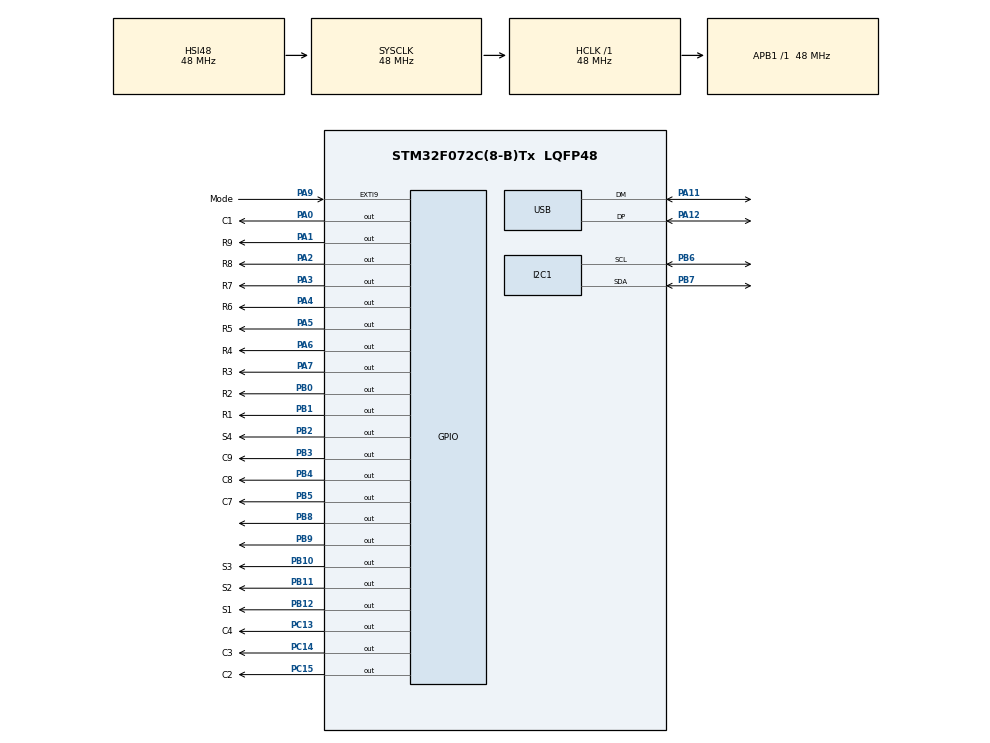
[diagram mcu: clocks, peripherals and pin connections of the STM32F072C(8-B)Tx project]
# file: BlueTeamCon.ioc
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Mcu.Family=STM32F0
USB_DEVICE.CLASS_NAME_FS=CDC
NVIC.USB_IRQn=true\:0\:0\:false\:false\:true\:false\:true
PA0.GPIO_Label=C1
PA11.Mode=Device
PA6.GPIO_Label=R4
PB0.GPIO_Label=R2
PC13.GPIO_Label=C4
PB11.Signal=GPIO_Output
PC15-OSC32_OUT.GPIO_Label=C2
RCC.SYSCLKSource=RCC_SYSCLKSOURCE_HSI48
ProjectManager.StackSize=0x400
PA12.Signal=USB_DP
RCC.HCLKFreq_Value=48000000
PB6.Signal=I2C1_SCL
PB6.Mode=I2C
RCC.AHBFreq_Value=48000000
PB2.Signal=GPIO_Output
PB12.GPIO_Label=S1
PB1.GPIO_Label=R1
PB7.Signal=I2C1_SDA
PA0.Signal=GPIO_Output
Mcu.Package=LQFP48
PB9.Signal=GPIO_Output
PB1.Signal=GPIO_Output
PA6.Signal=GPIO_Output
PA2.GPIO_Label=R8
PB5.GPIO_Label=C7
RCC.APB1TimFreq_Value=48000000
PC14-OSC32_IN.GPIO_Label=C3
PA4.GPIO_Label=R6
NVIC.EXTI4_15_IRQn=true\:0\:0\:false\:false\:true\:true\:true
PB4.Signal=GPIO_Output
PA3.Signal=GPIO_Output
PB3.GPIO_Label=C9
USB_DEVICE.VirtualModeFS=Cdc_FS
PC13.Signal=GPIO_Output
PA9.GPIO_Label=Mode
PB11.GPIO_Label=S2
PC14-OSC32_IN.Signal=GPIO_Output
PA9.GPIO_PuPd=GPIO_PULLUP
ProjectManager.TargetToolchain=Makefile
PB10.GPIO_Label=S3
VP_USB_DEVICE_VS_USB_DEVICE_CDC_FS.Mode=CDC_FS
PA9.Signal=GPXTI9
PC15-OSC32_OUT.Signal=GPIO_Output
PA1.Signal=GPIO_Output
PB10.Signal=GPIO_Output
PA5.Signal=GPIO_Output
board=custom
PB4.GPIO_Label=C8
PA1.GPIO_Label=R9
Mcu.Name=STM32F072C(8-B)Tx
PA2.Signal=GPIO_Output
PB3.Signal=GPIO_Output
PA4.Signal=GPIO_Output
RCC.SYSCLKFreq_VALUE=48000000
PB5.Signal=GPIO_Output
PA7.GPIO_Label=R3
PA12.Mode=Device
PA5.GPIO_Label=R5
PB7.Mode=I2C
PA11.Signal=USB_DM
PB2.GPIO_Label=S4
ProjectManager.HeapSize=0x200
PA9.GPIO_ModeDefaultEXTI=GPIO_MODE_IT_FALLING
PB8.Signal=GPIO_Output
RCC.APB1Freq_Value=48000000
PB0.Signal=GPIO_Output
USB_DEVICE.VirtualMode=Cdc
PB12.Signal=GPIO_Output
PA3.GPIO_Label=R7
PA7.Signal=GPIO_Output

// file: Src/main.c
/* USER CODE BEGIN Header */
/**
  ******************************************************************************
  * @file           : main.c
  * @brief          : Main program body
  ******************************************************************************
  * @attention
  *
  * <h2><center>&copy; Copyright (c) 2020 STMicroelectronics.
  * All rights reserved.</center></h2>
  *
  * This software component is licensed by ST under Ultimate Liberty license
  * SLA0044, the "License"; You may not use this file except in compliance with
  * the License. You may obtain a copy of the License at:
  *                             www.st.com/SLA0044
  *
  ******************************************************************************
  */
/* USER CODE END Header */
#include "main.h"
#include "usb_device.h"

/* USER CODE BEGIN Includes */
#include "lis3dh_reg.h"

/* USER CODE END Includes */

/* USER CODE BEGIN PD */
static int16_t data_raw_acceleration[3];
static int16_t data_raw_temperature;
static float acceleration_mg[3];
static float temperature_degC;
static uint8_t whoamI;
static uint8_t tx_buffer[1000];

#define SENSOR_BUS hi2c1

static int32_t platform_write(void *handle, uint8_t reg, const uint8_t *bufp,
                              uint16_t len);
static int32_t platform_read(void *handle, uint8_t reg, uint8_t *bufp,
                             uint16_t len);
static void tx_com(uint8_t *tx_buffer, uint16_t len);

static void lis3dh_read_data_polling(void);
/* USER CODE END PD */

I2C_HandleTypeDef hi2c1;

/* USER CODE BEGIN PV */
int location = 0;
int change = 0;
/* USER CODE END PV */

void SystemClock_Config(void);
static void MX_GPIO_Init(void);
static void MX_I2C1_Init(void);
/* USER CODE BEGIN PFP */
void singleMatrix(int, int);

/* USER CODE END PFP */

int main(void)
{

  /* MCU Configuration--------------------------------------------------------*/

  /* Reset of all peripherals, Initializes the Flash interface and the Systick. */
  HAL_Init();

  /* USER CODE BEGIN Init */
//   uint8_t *data = "Hello World from USB CDC\n";

  /* USER CODE END Init */

  /* Configure the system clock */
  SystemClock_Config();

  /* Initialize all configured peripherals */
  MX_GPIO_Init();
  MX_I2C1_Init();
  MX_USB_DEVICE_Init();
  /* USER CODE BEGIN 2 */
uint8_t Space[] = " - ";
uint8_t StartMSG[] = "Starting I2C Scanning: \r\n";
uint8_t EndMSG[] = "Done! \r\n\r\n";
uint8_t Buffer[25] = {0};

  /* USER CODE END 2 */

  /* Infinite loop */
  /* USER CODE BEGIN WHILE */
  while (1)
  {
      //starsON();
      //cycleMatrix();
      if(location == 0)
         //cylon();
         lines();
      else if(location == 1)
         cycleMatrix(500);
      else if(location == 2)
         cycleMatrix(100);
      else if(location == 3)
         allON();
      else if(location == 4)
         triangles();
      else if(location == 5)
         lines();

      if(change > 0){
         change = 0;
         location++;
         if(location >5)
            location = 0;
         allOFF();
      }
//     CDC_Transmit_FS(data, strlen(data));
/*
if(HAL_GPIO_ReadPin(GPIOA, GPIO_PIN_9) == 0)
{
   lis3dh_read_data_polling();
uint8_t ret;

  for(uint8_t i=1; i<128; i++)
    {
    	ret = HAL_I2C_IsDeviceReady(&hi2c1, (uint16_t)(i<<1), 3, 5);
    	if (ret != HAL_OK)
    	{
    	    CDC_Transmit_FS(Space, sizeof(Space));
        }
    	else if(ret == HAL_OK)
    	{
    	    sprintf(Buffer, "0x%X", i);
    	    CDC_Transmit_FS(Buffer, sizeof(Buffer));
    	}
    }
    CDC_Transmit_FS(EndMSG, sizeof(EndMSG));
}
*/

    /* USER CODE END WHILE */

  }
}

void SystemClock_Config(void)
{
  RCC_OscInitTypeDef RCC_OscInitStruct = {0};
  RCC_ClkInitTypeDef RCC_ClkInitStruct = {0};
  RCC_PeriphCLKInitTypeDef PeriphClkInit = {0};

  /** Initializes the RCC Oscillators according to the specified parameters
  * in the RCC_OscInitTypeDef structure.
  */
  RCC_OscInitStruct.OscillatorType = RCC_OSCILLATORTYPE_HSI|RCC_OSCILLATORTYPE_HSI48;
  RCC_OscInitStruct.HSIState = RCC_HSI_ON;
  RCC_OscInitStruct.HSI48State = RCC_HSI48_ON;
  RCC_OscInitStruct.HSICalibrationValue = RCC_HSICALIBRATION_DEFAULT;
  RCC_OscInitStruct.PLL.PLLState = RCC_PLL_NONE;
  if (HAL_RCC_OscConfig(&RCC_OscInitStruct) != HAL_OK)
  {
    Error_Handler();
  }
  /** Initializes the CPU, AHB and APB buses clocks
  */
  RCC_ClkInitStruct.ClockType = RCC_CLOCKTYPE_HCLK|RCC_CLOCKTYPE_SYSCLK
                              |RCC_CLOCKTYPE_PCLK1;
  RCC_ClkInitStruct.SYSCLKSource = RCC_SYSCLKSOURCE_HSI48;
  RCC_ClkInitStruct.AHBCLKDivider = RCC_SYSCLK_DIV1;
  RCC_ClkInitStruct.APB1CLKDivider = RCC_HCLK_DIV1;

  if (HAL_RCC_ClockConfig(&RCC_ClkInitStruct, FLASH_LATENCY_1) != HAL_OK)
  {
    Error_Handler();
  }
  PeriphClkInit.PeriphClockSelection = RCC_PERIPHCLK_USB|RCC_PERIPHCLK_I2C1;
  PeriphClkInit.I2c1ClockSelection = RCC_I2C1CLKSOURCE_HSI;
  PeriphClkInit.UsbClockSelection = RCC_USBCLKSOURCE_HSI48;

  if (HAL_RCCEx_PeriphCLKConfig(&PeriphClkInit) != HAL_OK)
  {
    Error_Handler();
  }
}

static void MX_I2C1_Init(void)
{

  hi2c1.Instance = I2C1;
  hi2c1.Init.Timing = 0x2000090E;
  hi2c1.Init.OwnAddress1 = 0;
  hi2c1.Init.AddressingMode = I2C_ADDRESSINGMODE_7BIT;
  hi2c1.Init.DualAddressMode = I2C_DUALADDRESS_DISABLE;
  hi2c1.Init.OwnAddress2 = 0;
  hi2c1.Init.OwnAddress2Masks = I2C_OA2_NOMASK;
  hi2c1.Init.GeneralCallMode = I2C_GENERALCALL_DISABLE;
  hi2c1.Init.NoStretchMode = I2C_NOSTRETCH_DISABLE;
  if (HAL_I2C_Init(&hi2c1) != HAL_OK)
  {
    Error_Handler();
  }
  /** Configure Analogue filter
  */
  if (HAL_I2CEx_ConfigAnalogFilter(&hi2c1, I2C_ANALOGFILTER_ENABLE) != HAL_OK)
  {
    Error_Handler();
  }
  /** Configure Digital filter
  */
  if (HAL_I2CEx_ConfigDigitalFilter(&hi2c1, 0) != HAL_OK)
  {
    Error_Handler();
  }

}

static void MX_GPIO_Init(void)
{
  GPIO_InitTypeDef GPIO_InitStruct = {0};

  /* GPIO Ports Clock Enable */
  __HAL_RCC_GPIOC_CLK_ENABLE();
  __HAL_RCC_GPIOA_CLK_ENABLE();
  __HAL_RCC_GPIOB_CLK_ENABLE();

  /*Configure GPIO pin Output Level */
  HAL_GPIO_WritePin(GPIOC, C4_Pin|C3_Pin|C2_Pin, GPIO_PIN_RESET);

  /*Configure GPIO pin Output Level */
  HAL_GPIO_WritePin(GPIOA, C1_Pin|R9_Pin|R8_Pin|R7_Pin
                          |R6_Pin|R5_Pin|R4_Pin|R3_Pin, GPIO_PIN_RESET);

  /*Configure GPIO pin Output Level */
  HAL_GPIO_WritePin(GPIOB, R2_Pin|R1_Pin|S4_Pin|S3_Pin
                          |S2_Pin|S1_Pin|C9_Pin|C8_Pin
                          |C7_Pin|GPIO_PIN_8|GPIO_PIN_9, GPIO_PIN_RESET);

  /*Configure GPIO pins : C4_Pin C3_Pin C2_Pin */
  GPIO_InitStruct.Pin = C4_Pin|C3_Pin|C2_Pin;
  GPIO_InitStruct.Mode = GPIO_MODE_OUTPUT_PP;
  GPIO_InitStruct.Pull = GPIO_NOPULL;
  GPIO_InitStruct.Speed = GPIO_SPEED_FREQ_LOW;
  HAL_GPIO_Init(GPIOC, &GPIO_InitStruct);

  /*Configure GPIO pins : C1_Pin R9_Pin R8_Pin R7_Pin
                           R6_Pin R5_Pin R4_Pin R3_Pin */
  GPIO_InitStruct.Pin = C1_Pin|R9_Pin|R8_Pin|R7_Pin
                          |R6_Pin|R5_Pin|R4_Pin|R3_Pin;
  GPIO_InitStruct.Mode = GPIO_MODE_OUTPUT_PP;
  GPIO_InitStruct.Pull = GPIO_NOPULL;
  GPIO_InitStruct.Speed = GPIO_SPEED_FREQ_LOW;
  HAL_GPIO_Init(GPIOA, &GPIO_InitStruct);

  /*Configure GPIO pins : R2_Pin R1_Pin S4_Pin S3_Pin
                           S2_Pin S1_Pin C9_Pin C8_Pin
                           C7_Pin PB8 PB9 */
  GPIO_InitStruct.Pin = R2_Pin|R1_Pin|S4_Pin|S3_Pin
                          |S2_Pin|S1_Pin|C9_Pin|C8_Pin
                          |C7_Pin|GPIO_PIN_8|GPIO_PIN_9;
  GPIO_InitStruct.Mode = GPIO_MODE_OUTPUT_PP;
  GPIO_InitStruct.Pull = GPIO_NOPULL;
  GPIO_InitStruct.Speed = GPIO_SPEED_FREQ_LOW;
  HAL_GPIO_Init(GPIOB, &GPIO_InitStruct);

  /*Configure GPIO pin : Mode_Pin */
  GPIO_InitStruct.Pin = Mode_Pin;
  GPIO_InitStruct.Mode = GPIO_MODE_IT_FALLING;
  GPIO_InitStruct.Pull = GPIO_PULLUP;
  HAL_GPIO_Init(Mode_GPIO_Port, &GPIO_InitStruct);

  /* EXTI interrupt init*/
  HAL_NVIC_SetPriority(EXTI4_15_IRQn, 0, 0);
  HAL_NVIC_EnableIRQ(EXTI4_15_IRQn);

}

/* USER CODE BEGIN 4 */

void HAL_GPIO_EXTI_Callback( uint16_t GPIO_Pin)
{
   //if(GPIO_Pin == Mode_Pin){
         //This block will be triggered after pin activated.
      //if(HAL_GPIO_ReadPin(GPIOA, GPIO_PIN_9 == 0)){
         change = 1;
        // tx_com(location, 16);
       //  }
   //}
}

static void tx_com(uint8_t *tx_buffer, uint16_t len){
//  HAL_UART_Transmit(&huart2, tx_buffer, len, 1000);
   CDC_Transmit_FS(tx_buffer, len);
}

void lis3dh_read_data_polling(void)
{
  /* Initialize mems driver interface */
  stmdev_ctx_t dev_ctx;
  dev_ctx.write_reg = platform_write;
  dev_ctx.read_reg = platform_read;
  dev_ctx.handle = &SENSOR_BUS;
  /* Wait boot time and initialize platform specific hardware */
  //platform_init();
  /* Wait sensor boot time */
//  platform_delay(5);
HAL_Delay(5);
  /* Check device ID */
  lis3dh_device_id_get(&dev_ctx, &whoamI);

  if (whoamI != LIS3DH_ID) {
    while (1) {
      /* manage here device not found */
      tx_com("Dev Not Found", 13);
    }
  }
  tx_com(whoamI, 20);

  /* Enable Block Data Update. */
  lis3dh_block_data_update_set(&dev_ctx, PROPERTY_ENABLE);
  /* Set Output Data Rate to 1Hz. */
  lis3dh_data_rate_set(&dev_ctx, LIS3DH_ODR_1Hz);
  /* Set full scale to 2g. */
  lis3dh_full_scale_set(&dev_ctx, LIS3DH_2g);
  /* Enable temperature sensor. */
  lis3dh_aux_adc_set(&dev_ctx, LIS3DH_AUX_ON_TEMPERATURE);
  /* Set device in continuous mode with 12 bit resol. */
  lis3dh_operating_mode_set(&dev_ctx, LIS3DH_HR_12bit);

  /* Read samples in polling mode (no int) */
  while (1) {
    lis3dh_reg_t reg;
    /* Read output only if new value available */
    lis3dh_xl_data_ready_get(&dev_ctx, &reg.byte);

//  tx_com(reg.byte, 20);
    if (reg.byte) {
      /* Read accelerometer data */
      memset(data_raw_acceleration, 0x00, 3 * sizeof(int16_t));
      lis3dh_acceleration_raw_get(&dev_ctx, data_raw_acceleration);
      acceleration_mg[0] =
        lis3dh_from_fs2_hr_to_mg(data_raw_acceleration[0]);
      acceleration_mg[1] =
        lis3dh_from_fs2_hr_to_mg(data_raw_acceleration[1]);
      acceleration_mg[2] =
        lis3dh_from_fs2_hr_to_mg(data_raw_acceleration[2]);
      sprintf((char *)tx_buffer,
              "Acceleration [mg]:%4.2f\t%4.2f\t%4.2f\r\n",
              acceleration_mg[0], acceleration_mg[1], acceleration_mg[2]);
      tx_com(tx_buffer, strlen((char const *)tx_buffer));
      tx_com((uint8_t )data_raw_acceleration[0], strlen((char const *)tx_buffer));
    }

    lis3dh_temp_data_ready_get(&dev_ctx, &reg.byte);

    if (reg.byte) {
      /* Read temperature data */
      memset(&data_raw_temperature, 0x00, sizeof(int16_t));
      lis3dh_temperature_raw_get(&dev_ctx, &data_raw_temperature);
      temperature_degC =
        lis3dh_from_lsb_hr_to_celsius(data_raw_temperature);
      sprintf((char *)tx_buffer,
              "Temperature [degC]:%6.2f\r\n",
              temperature_degC);
      tx_com(tx_buffer, strlen((char const *)tx_buffer));
    }
  }
}

static int32_t platform_write(void *handle, uint8_t reg, const uint8_t *bufp,
                              uint16_t len){
   reg |= 0x80;
   HAL_I2C_Mem_Write(handle, LIS3DH_I2C_ADD_L, reg,
                           I2C_MEMADD_SIZE_8BIT, (uint8_t*) bufp, len, 1000);
   return 0;
   }

static int32_t platform_read(void *handle, uint8_t reg, uint8_t *bufp, uint16_t len){
   /* Read multiple command */
   reg |= 0x80;
   HAL_I2C_Mem_Read(handle, LIS3DH_I2C_ADD_L, reg, I2C_MEMADD_SIZE_8BIT, bufp, len, 1000);
   return 0;
}

void starsON(){
   //Light our stars
   HAL_GPIO_WritePin(GPIOB, GPIO_PIN_12, GPIO_PIN_SET);
   HAL_GPIO_WritePin(GPIOB, GPIO_PIN_11, GPIO_PIN_SET);
   HAL_GPIO_WritePin(GPIOB, GPIO_PIN_10, GPIO_PIN_SET);
   HAL_GPIO_WritePin(GPIOB, GPIO_PIN_2, GPIO_PIN_SET);
}

void starsOFF(){
   //Light our stars
   HAL_GPIO_WritePin(GPIOB, GPIO_PIN_12, GPIO_PIN_RESET);
   HAL_GPIO_WritePin(GPIOB, GPIO_PIN_11, GPIO_PIN_RESET);
   HAL_GPIO_WritePin(GPIOB, GPIO_PIN_10, GPIO_PIN_RESET);
   HAL_GPIO_WritePin(GPIOB, GPIO_PIN_2, GPIO_PIN_RESET);
}

void allON(){
   starsON();
   cycleMatrix(1);
}

void allOFF(){
   //Blank our stars
   HAL_GPIO_WritePin(GPIOB, GPIO_PIN_12, GPIO_PIN_RESET);
   HAL_GPIO_WritePin(GPIOB, GPIO_PIN_11, GPIO_PIN_RESET);
   HAL_GPIO_WritePin(GPIOB, GPIO_PIN_10, GPIO_PIN_RESET);
   HAL_GPIO_WritePin(GPIOB, GPIO_PIN_2, GPIO_PIN_RESET);

   //Row 1
   HAL_GPIO_WritePin(GPIOB, GPIO_PIN_1, GPIO_PIN_RESET);
   //Row 2
   HAL_GPIO_WritePin(GPIOB, GPIO_PIN_0, GPIO_PIN_RESET);
   //Row 3
   HAL_GPIO_WritePin(GPIOA, GPIO_PIN_7, GPIO_PIN_RESET);
   //Row 4
   HAL_GPIO_WritePin(GPIOA, GPIO_PIN_6, GPIO_PIN_RESET);
   //Row 5
   HAL_GPIO_WritePin(GPIOA, GPIO_PIN_5, GPIO_PIN_RESET);
   //Row 6
   HAL_GPIO_WritePin(GPIOA, GPIO_PIN_4, GPIO_PIN_RESET);
   //Row 7
   HAL_GPIO_WritePin(GPIOA, GPIO_PIN_3, GPIO_PIN_RESET);
   //Row 8
   HAL_GPIO_WritePin(GPIOA, GPIO_PIN_2, GPIO_PIN_RESET);
   //Row 9
   HAL_GPIO_WritePin(GPIOA, GPIO_PIN_1, GPIO_PIN_RESET);

   //C1
   HAL_GPIO_WritePin(GPIOA, GPIO_PIN_0, GPIO_PIN_RESET);
   //C2
   HAL_GPIO_WritePin(GPIOC, GPIO_PIN_15, GPIO_PIN_RESET);
   //C3
   HAL_GPIO_WritePin(GPIOC, GPIO_PIN_14, GPIO_PIN_RESET);
   //C4
   HAL_GPIO_WritePin(GPIOC, GPIO_PIN_13, GPIO_PIN_RESET);
   //C5
   HAL_GPIO_WritePin(GPIOB, GPIO_PIN_9, GPIO_PIN_RESET);
   //C6
   HAL_GPIO_WritePin(GPIOB, GPIO_PIN_8, GPIO_PIN_RESET);
   //C7
   HAL_GPIO_WritePin(GPIOB, GPIO_PIN_5, GPIO_PIN_RESET);
   //C8
   HAL_GPIO_WritePin(GPIOB, GPIO_PIN_4, GPIO_PIN_RESET);
   //C9
   HAL_GPIO_WritePin(GPIOB, GPIO_PIN_3, GPIO_PIN_RESET);
}

void triangles(){
   int i = 1;
   int j = 1;
   while(change == 0){
      if(i == 1){
         singleMatrix(1,1);
         singleMatrix(2,1);
         singleMatrix(3,1);
         singleMatrix(4,1);
         singleMatrix(5,1);
         singleMatrix(6,1);
         singleMatrix(7,1);
         singleMatrix(8,1);
         singleMatrix(9,1);

         singleMatrix(1,1);
         singleMatrix(1,2);
         singleMatrix(1,3);
         singleMatrix(1,4);
         singleMatrix(1,5);
         singleMatrix(1,6);
         singleMatrix(1,7);
         singleMatrix(1,8);
         singleMatrix(1,9);

         singleMatrix(8,2);
         singleMatrix(7,3);
         singleMatrix(6,4);
         singleMatrix(5,5);
         singleMatrix(4,6);
         singleMatrix(3,7);
         singleMatrix(8,8);
      }
      if(i == 2){
         singleMatrix(1,2);
         singleMatrix(2,2);
         singleMatrix(3,2);
         singleMatrix(4,2);
         singleMatrix(5,2);
         singleMatrix(6,2);
         singleMatrix(7,2);
         singleMatrix(8,2);

         singleMatrix(2,3);
         singleMatrix(2,4);
         singleMatrix(2,5);
         singleMatrix(2,6);
         singleMatrix(2,7);

         singleMatrix(6,3);
         singleMatrix(4,5);
         singleMatrix(3,6);

      }
      if(i == 3){
         singleMatrix(3,5);
         HAL_Delay(1);
         }
      if(j == 3000){
         j = 1;
         i++;
         if(i == 4)
            i = 1;
      }
      j++;
      if(change > 0)
         return;
   }
}

void lines(){
   int i =0;
   int j =0;
   while(change == 0){
      if(j == 0){
         allOFF();
         starsON();
         for(int k =0; k<600; k++) {}
      }
      if(j == 1){
         starsOFF();
         singleMatrix(1,1);
         singleMatrix(2,1);
         singleMatrix(3,1);
         singleMatrix(4,1);
         singleMatrix(5,1);
         singleMatrix(6,1);
         singleMatrix(7,1);
         singleMatrix(8,1);
         singleMatrix(9,1);
      }
      if(j == 2){
         singleMatrix(1,2);
         singleMatrix(2,2);
         singleMatrix(3,2);
         singleMatrix(4,2);
         singleMatrix(5,2);
         singleMatrix(6,2);
         singleMatrix(7,2);
         singleMatrix(8,2);
      }
      if(j == 3){
         singleMatrix(1,3);
         singleMatrix(2,3);
         singleMatrix(3,3);
         singleMatrix(4,3);
         singleMatrix(5,3);
         singleMatrix(6,3);
         singleMatrix(7,3);
      }
      if(j == 4){
         singleMatrix(1,4);
         singleMatrix(2,4);
         singleMatrix(6,4);
         singleMatrix(7,4);
         for(int k =0; k<300; k++) {}
      }
      if(j == 5){
         singleMatrix(1,5);
         singleMatrix(2,5);
         singleMatrix(3,5);
         singleMatrix(4,5);
         singleMatrix(5,5);
         for(int k =0; k<100; k++) {}
      }
      if(j == 6){
         singleMatrix(1,6);
         singleMatrix(2,6);
         singleMatrix(3,6);
         singleMatrix(4,6);
         for(int k =0; k<200; k++) {}
      }
      if(j == 7){
         singleMatrix(1,7);
         singleMatrix(2,7);
         singleMatrix(3,7);
         for(int k =0; k<300; k++) {}
      }
      if(j == 8){
         singleMatrix(1,8);
         singleMatrix(2,8);
         for(int k =0; k<400; k++) {}

      }
      if(j == 9){
         singleMatrix(1,9);
         for(int k =0; k<500; k++) {}
      }

      //if(change > 0)
      //   return;

      if(i == 3000){
         i = 0;
         if(j == 10)
            j = 0;
         else
            j++;
      }
      i++;
   }
}
void cylon(){
   HAL_GPIO_WritePin(GPIOB, GPIO_PIN_12, GPIO_PIN_RESET);
   HAL_GPIO_WritePin(GPIOB, GPIO_PIN_11, GPIO_PIN_RESET);
   HAL_GPIO_WritePin(GPIOB, GPIO_PIN_10, GPIO_PIN_RESET);
   HAL_GPIO_WritePin(GPIOB, GPIO_PIN_2, GPIO_PIN_RESET);

   HAL_GPIO_WritePin(GPIOB, GPIO_PIN_2, GPIO_PIN_SET);
   HAL_Delay(200);
   HAL_GPIO_WritePin(GPIOB, GPIO_PIN_2, GPIO_PIN_RESET);
   HAL_GPIO_WritePin(GPIOB, GPIO_PIN_10, GPIO_PIN_SET);
   HAL_Delay(100);
   HAL_GPIO_WritePin(GPIOB, GPIO_PIN_10, GPIO_PIN_RESET);
   HAL_GPIO_WritePin(GPIOB, GPIO_PIN_11, GPIO_PIN_SET);
   HAL_Delay(100);
   HAL_GPIO_WritePin(GPIOB, GPIO_PIN_11, GPIO_PIN_RESET);
   HAL_GPIO_WritePin(GPIOB, GPIO_PIN_12, GPIO_PIN_SET);
   HAL_Delay(200);
   HAL_GPIO_WritePin(GPIOB, GPIO_PIN_12, GPIO_PIN_RESET);
   HAL_GPIO_WritePin(GPIOB, GPIO_PIN_11, GPIO_PIN_SET);
   HAL_Delay(100);
   HAL_GPIO_WritePin(GPIOB, GPIO_PIN_11, GPIO_PIN_RESET);
   HAL_GPIO_WritePin(GPIOB, GPIO_PIN_10, GPIO_PIN_SET);
   HAL_Delay(100);
   HAL_GPIO_WritePin(GPIOB, GPIO_PIN_10, GPIO_PIN_RESET);
   HAL_GPIO_WritePin(GPIOB, GPIO_PIN_2, GPIO_PIN_SET);
   HAL_Delay(100);
   HAL_GPIO_WritePin(GPIOB, GPIO_PIN_2, GPIO_PIN_RESET);
   //HAL_Delay(150);
}

void cycleMatrix(int speed){
      for(int i=1; i<10; i++){
         for(int j=1; j<10; j++){
            //Second Row Mods
            if(i==2){
               if(j==4)
                  j++;
               else if(j==9){
                  i=3;
                  j=1;
               }
            }
            //Row Three
            if(i==3){
               if(j==3)
                  j=5;
               else if(j>7){
                  i=4;
                  j=1;
               }
            }
            //Row Four
            if(i==4){
               if(j==3)
                  j=5;
               else if(j==6){
                  i=5;
                  j=1;
               }
            }
            //Row Five
            if(i==5){
               if(j==3)
                  j=5;
               else if(j>5){
                  i=6;
                  j=1;
               }
            }
            //Row Six
            if(i==6 && j>4){
                  i=7;
                  j=1;
            }
            //Row Seven
            if(i==7 && j>3){
                  i=8;
                  j=1;
            }
            //Row Eight
            if(i==8 && j>3){
                  i=9;
                  j=1;
            }
            //Row Nine
            if(i==9){
               i = 1;
               j++;
            }

            singleMatrix(i,j);
           //Add matrix void jump here
           HAL_Delay(speed);
           if(change == 1)
               return;
         }
         }
}

void singleMatrix(int x, int y){
   if(y == 1){
      //Row 1
      HAL_GPIO_WritePin(GPIOB, GPIO_PIN_1, GPIO_PIN_SET);
      //Row 2
      HAL_GPIO_WritePin(GPIOB, GPIO_PIN_0, GPIO_PIN_RESET);
      //Row 3
      HAL_GPIO_WritePin(GPIOA, GPIO_PIN_7, GPIO_PIN_RESET);
      //Row 4
      HAL_GPIO_WritePin(GPIOA, GPIO_PIN_6, GPIO_PIN_RESET);
      //Row 5
      HAL_GPIO_WritePin(GPIOA, GPIO_PIN_5, GPIO_PIN_RESET);
      //Row 6
      HAL_GPIO_WritePin(GPIOA, GPIO_PIN_4, GPIO_PIN_RESET);
      //Row 7
      HAL_GPIO_WritePin(GPIOA, GPIO_PIN_3, GPIO_PIN_RESET);
      //Row 8
      HAL_GPIO_WritePin(GPIOA, GPIO_PIN_2, GPIO_PIN_RESET);
      //Row 9
      HAL_GPIO_WritePin(GPIOA, GPIO_PIN_1, GPIO_PIN_RESET);
   }
   if(y == 2){
      //Row 1
      HAL_GPIO_WritePin(GPIOB, GPIO_PIN_1, GPIO_PIN_RESET);
      //Row 2
      HAL_GPIO_WritePin(GPIOB, GPIO_PIN_0, GPIO_PIN_SET);
      //Row 3
      HAL_GPIO_WritePin(GPIOA, GPIO_PIN_7, GPIO_PIN_RESET);
      //Row 4
      HAL_GPIO_WritePin(GPIOA, GPIO_PIN_6, GPIO_PIN_RESET);
      //Row 5
      HAL_GPIO_WritePin(GPIOA, GPIO_PIN_5, GPIO_PIN_RESET);
      //Row 6
      HAL_GPIO_WritePin(GPIOA, GPIO_PIN_4, GPIO_PIN_RESET);
      //Row 7
      HAL_GPIO_WritePin(GPIOA, GPIO_PIN_3, GPIO_PIN_RESET);
      //Row 8
      HAL_GPIO_WritePin(GPIOA, GPIO_PIN_2, GPIO_PIN_RESET);
      //Row 9
      HAL_GPIO_WritePin(GPIOA, GPIO_PIN_1, GPIO_PIN_RESET);
   }
   if(y == 3){
      //Row 1
      HAL_GPIO_WritePin(GPIOB, GPIO_PIN_1, GPIO_PIN_RESET);
      //Row 2
      HAL_GPIO_WritePin(GPIOB, GPIO_PIN_0, GPIO_PIN_RESET);
      //Row 3
      HAL_GPIO_WritePin(GPIOA, GPIO_PIN_7, GPIO_PIN_SET);
      //Row 4
      HAL_GPIO_WritePin(GPIOA, GPIO_PIN_6, GPIO_PIN_RESET);
      //Row 5
      HAL_GPIO_WritePin(GPIOA, GPIO_PIN_5, GPIO_PIN_RESET);
      //Row 6
      HAL_GPIO_WritePin(GPIOA, GPIO_PIN_4, GPIO_PIN_RESET);
      //Row 7
      HAL_GPIO_WritePin(GPIOA, GPIO_PIN_3, GPIO_PIN_RESET);
      //Row 8
      HAL_GPIO_WritePin(GPIOA, GPIO_PIN_2, GPIO_PIN_RESET);
      //Row 9
      HAL_GPIO_WritePin(GPIOA, GPIO_PIN_1, GPIO_PIN_RESET);
   }
   if(y == 4){
      //Row 1
      HAL_GPIO_WritePin(GPIOB, GPIO_PIN_1, GPIO_PIN_RESET);
      //Row 2
      HAL_GPIO_WritePin(GPIOB, GPIO_PIN_0, GPIO_PIN_RESET);
      //Row 3
      HAL_GPIO_WritePin(GPIOA, GPIO_PIN_7, GPIO_PIN_RESET);
      //Row 4
      HAL_GPIO_WritePin(GPIOA, GPIO_PIN_6, GPIO_PIN_SET);
      //Row 5
      HAL_GPIO_WritePin(GPIOA, GPIO_PIN_5, GPIO_PIN_RESET);
      //Row 6
      HAL_GPIO_WritePin(GPIOA, GPIO_PIN_4, GPIO_PIN_RESET);
      //Row 7
      HAL_GPIO_WritePin(GPIOA, GPIO_PIN_3, GPIO_PIN_RESET);
      //Row 8
      HAL_GPIO_WritePin(GPIOA, GPIO_PIN_2, GPIO_PIN_RESET);
      //Row 9
      HAL_GPIO_WritePin(GPIOA, GPIO_PIN_1, GPIO_PIN_RESET);
   }
   if(y == 5){
      //Row 1
      HAL_GPIO_WritePin(GPIOB, GPIO_PIN_1, GPIO_PIN_RESET);
      //Row 2
      HAL_GPIO_WritePin(GPIOB, GPIO_PIN_0, GPIO_PIN_RESET);
      //Row 3
      HAL_GPIO_WritePin(GPIOA, GPIO_PIN_7, GPIO_PIN_RESET);
      //Row 4
      HAL_GPIO_WritePin(GPIOA, GPIO_PIN_6, GPIO_PIN_RESET);
      //Row 5
      HAL_GPIO_WritePin(GPIOA, GPIO_PIN_5, GPIO_PIN_SET);
      //Row 6
      HAL_GPIO_WritePin(GPIOA, GPIO_PIN_4, GPIO_PIN_RESET);
      //Row 7
      HAL_GPIO_WritePin(GPIOA, GPIO_PIN_3, GPIO_PIN_RESET);
      //Row 8
      HAL_GPIO_WritePin(GPIOA, GPIO_PIN_2, GPIO_PIN_RESET);
      //Row 9
      HAL_GPIO_WritePin(GPIOA, GPIO_PIN_1, GPIO_PIN_RESET);
   }
   if(y == 6){
      //Row 1
      HAL_GPIO_WritePin(GPIOB, GPIO_PIN_1, GPIO_PIN_RESET);
      //Row 2
      HAL_GPIO_WritePin(GPIOB, GPIO_PIN_0, GPIO_PIN_RESET);
      //Row 3
      HAL_GPIO_WritePin(GPIOA, GPIO_PIN_7, GPIO_PIN_RESET);
      //Row 4
      HAL_GPIO_WritePin(GPIOA, GPIO_PIN_6, GPIO_PIN_RESET);
      //Row 5
      HAL_GPIO_WritePin(GPIOA, GPIO_PIN_5, GPIO_PIN_RESET);
      //Row 6
      HAL_GPIO_WritePin(GPIOA, GPIO_PIN_4, GPIO_PIN_SET);
      //Row 7
      HAL_GPIO_WritePin(GPIOA, GPIO_PIN_3, GPIO_PIN_RESET);
      //Row 8
      HAL_GPIO_WritePin(GPIOA, GPIO_PIN_2, GPIO_PIN_RESET);
      //Row 9
      HAL_GPIO_WritePin(GPIOA, GPIO_PIN_1, GPIO_PIN_RESET);
   }
   if(y == 7){
      //Row 1
      HAL_GPIO_WritePin(GPIOB, GPIO_PIN_1, GPIO_PIN_RESET);
      //Row 2
      HAL_GPIO_WritePin(GPIOB, GPIO_PIN_0, GPIO_PIN_RESET);
      //Row 3
      HAL_GPIO_WritePin(GPIOA, GPIO_PIN_7, GPIO_PIN_RESET);
      //Row 4
      HAL_GPIO_WritePin(GPIOA, GPIO_PIN_6, GPIO_PIN_RESET);
      //Row 5
      HAL_GPIO_WritePin(GPIOA, GPIO_PIN_5, GPIO_PIN_RESET);
      //Row 6
      HAL_GPIO_WritePin(GPIOA, GPIO_PIN_4, GPIO_PIN_RESET);
      //Row 7
      HAL_GPIO_WritePin(GPIOA, GPIO_PIN_3, GPIO_PIN_SET);
      //Row 8
      HAL_GPIO_WritePin(GPIOA, GPIO_PIN_2, GPIO_PIN_RESET);
      //Row 9
      HAL_GPIO_WritePin(GPIOA, GPIO_PIN_1, GPIO_PIN_RESET);
   }
   if(y == 8){
      //Row 1
      HAL_GPIO_WritePin(GPIOB, GPIO_PIN_1, GPIO_PIN_RESET);
      //Row 2
      HAL_GPIO_WritePin(GPIOB, GPIO_PIN_0, GPIO_PIN_RESET);
      //Row 3
      HAL_GPIO_WritePin(GPIOA, GPIO_PIN_7, GPIO_PIN_RESET);
      //Row 4
      HAL_GPIO_WritePin(GPIOA, GPIO_PIN_6, GPIO_PIN_RESET);
      //Row 5
      HAL_GPIO_WritePin(GPIOA, GPIO_PIN_5, GPIO_PIN_RESET);
      //Row 6
      HAL_GPIO_WritePin(GPIOA, GPIO_PIN_4, GPIO_PIN_RESET);
      //Row 7
      HAL_GPIO_WritePin(GPIOA, GPIO_PIN_3, GPIO_PIN_RESET);
      //Row 8
      HAL_GPIO_WritePin(GPIOA, GPIO_PIN_2, GPIO_PIN_SET);
      //Row 9
      HAL_GPIO_WritePin(GPIOA, GPIO_PIN_1, GPIO_PIN_RESET);
   }
   if(y == 9){
      //Row 1
      HAL_GPIO_WritePin(GPIOB, GPIO_PIN_1, GPIO_PIN_RESET);
      //Row 2
      HAL_GPIO_WritePin(GPIOB, GPIO_PIN_0, GPIO_PIN_RESET);
      //Row 3
      HAL_GPIO_WritePin(GPIOA, GPIO_PIN_7, GPIO_PIN_RESET);
      //Row 4
      HAL_GPIO_WritePin(GPIOA, GPIO_PIN_6, GPIO_PIN_RESET);
      //Row 5
      HAL_GPIO_WritePin(GPIOA, GPIO_PIN_5, GPIO_PIN_RESET);
      //Row 6
      HAL_GPIO_WritePin(GPIOA, GPIO_PIN_4, GPIO_PIN_RESET);
      //Row 7
      HAL_GPIO_WritePin(GPIOA, GPIO_PIN_3, GPIO_PIN_RESET);
      //Row 8
      HAL_GPIO_WritePin(GPIOA, GPIO_PIN_2, GPIO_PIN_RESET);
      //Row 9
      HAL_GPIO_WritePin(GPIOA, GPIO_PIN_1, GPIO_PIN_SET);
   }

   // Work on X now
   if(x == 1){
      //C1
      HAL_GPIO_WritePin(GPIOA, GPIO_PIN_0, GPIO_PIN_RESET);
      //C2
      HAL_GPIO_WritePin(GPIOC, GPIO_PIN_15, GPIO_PIN_SET);
      //C3
      HAL_GPIO_WritePin(GPIOC, GPIO_PIN_14, GPIO_PIN_SET);
      //C4
      HAL_GPIO_WritePin(GPIOC, GPIO_PIN_13, GPIO_PIN_SET);
      //C5
      HAL_GPIO_WritePin(GPIOB, GPIO_PIN_9, GPIO_PIN_SET);
      //C6
      HAL_GPIO_WritePin(GPIOB, GPIO_PIN_8, GPIO_PIN_SET);
      //C7
      HAL_GPIO_WritePin(GPIOB, GPIO_PIN_5, GPIO_PIN_SET);
      //C8
      HAL_GPIO_WritePin(GPIOB, GPIO_PIN_4, GPIO_PIN_SET);
      //C9
      HAL_GPIO_WritePin(GPIOB, GPIO_PIN_3, GPIO_PIN_SET);
   }

   if(x == 2){
      //C1
      HAL_GPIO_WritePin(GPIOA, GPIO_PIN_0, GPIO_PIN_SET);
      //C2
      HAL_GPIO_WritePin(GPIOC, GPIO_PIN_15, GPIO_PIN_RESET);
      //C3
      HAL_GPIO_WritePin(GPIOC, GPIO_PIN_14, GPIO_PIN_SET);
      //C4
      HAL_GPIO_WritePin(GPIOC, GPIO_PIN_13, GPIO_PIN_SET);
      //C5
      HAL_GPIO_WritePin(GPIOB, GPIO_PIN_9, GPIO_PIN_SET);
      //C6
      HAL_GPIO_WritePin(GPIOB, GPIO_PIN_8, GPIO_PIN_SET);
      //C7
      HAL_GPIO_WritePin(GPIOB, GPIO_PIN_5, GPIO_PIN_SET);
      //C8
      HAL_GPIO_WritePin(GPIOB, GPIO_PIN_4, GPIO_PIN_SET);
      //C9
      HAL_GPIO_WritePin(GPIOB, GPIO_PIN_3, GPIO_PIN_SET);
   }

   if(x == 3){
      //C1
      HAL_GPIO_WritePin(GPIOA, GPIO_PIN_0, GPIO_PIN_SET);
      //C2
      HAL_GPIO_WritePin(GPIOC, GPIO_PIN_15, GPIO_PIN_SET);
      //C3
      HAL_GPIO_WritePin(GPIOC, GPIO_PIN_14, GPIO_PIN_RESET);
      //C4
      HAL_GPIO_WritePin(GPIOC, GPIO_PIN_13, GPIO_PIN_SET);
      //C5
      HAL_GPIO_WritePin(GPIOB, GPIO_PIN_9, GPIO_PIN_SET);
      //C6
      HAL_GPIO_WritePin(GPIOB, GPIO_PIN_8, GPIO_PIN_SET);
      //C7
      HAL_GPIO_WritePin(GPIOB, GPIO_PIN_5, GPIO_PIN_SET);
      //C8
      HAL_GPIO_WritePin(GPIOB, GPIO_PIN_4, GPIO_PIN_SET);
      //C9
      HAL_GPIO_WritePin(GPIOB, GPIO_PIN_3, GPIO_PIN_SET);
   }

   if(x == 4){
      //C1
      HAL_GPIO_WritePin(GPIOA, GPIO_PIN_0, GPIO_PIN_SET);
      //C2
      HAL_GPIO_WritePin(GPIOC, GPIO_PIN_15, GPIO_PIN_SET);
      //C3
      HAL_GPIO_WritePin(GPIOC, GPIO_PIN_14, GPIO_PIN_SET);
      //C4
      HAL_GPIO_WritePin(GPIOC, GPIO_PIN_13, GPIO_PIN_RESET);
      //C5
      HAL_GPIO_WritePin(GPIOB, GPIO_PIN_9, GPIO_PIN_SET);
      //C6
      HAL_GPIO_WritePin(GPIOB, GPIO_PIN_8, GPIO_PIN_SET);
      //C7
      HAL_GPIO_WritePin(GPIOB, GPIO_PIN_5, GPIO_PIN_SET);
      //C8
      HAL_GPIO_WritePin(GPIOB, GPIO_PIN_4, GPIO_PIN_SET);
      //C9
      HAL_GPIO_WritePin(GPIOB, GPIO_PIN_3, GPIO_PIN_SET);
   }
   if(x == 5){
      //C1
      HAL_GPIO_WritePin(GPIOA, GPIO_PIN_0, GPIO_PIN_SET);
      //C2
      HAL_GPIO_WritePin(GPIOC, GPIO_PIN_15, GPIO_PIN_SET);
      //C3
      HAL_GPIO_WritePin(GPIOC, GPIO_PIN_14, GPIO_PIN_SET);
      //C4
      HAL_GPIO_WritePin(GPIOC, GPIO_PIN_13, GPIO_PIN_SET);
      //C5
      HAL_GPIO_WritePin(GPIOB, GPIO_PIN_9, GPIO_PIN_RESET);
      //C6
      HAL_GPIO_WritePin(GPIOB, GPIO_PIN_8, GPIO_PIN_SET);
      //C7
      HAL_GPIO_WritePin(GPIOB, GPIO_PIN_5, GPIO_PIN_SET);
      //C8
      HAL_GPIO_WritePin(GPIOB, GPIO_PIN_4, GPIO_PIN_SET);
      //C9
      HAL_GPIO_WritePin(GPIOB, GPIO_PIN_3, GPIO_PIN_SET);
   }
   if(x == 6){
      //C1
      HAL_GPIO_WritePin(GPIOA, GPIO_PIN_0, GPIO_PIN_SET);
      //C2
      HAL_GPIO_WritePin(GPIOC, GPIO_PIN_15, GPIO_PIN_SET);
      //C3
      HAL_GPIO_WritePin(GPIOC, GPIO_PIN_14, GPIO_PIN_SET);
      //C4
      HAL_GPIO_WritePin(GPIOC, GPIO_PIN_13, GPIO_PIN_SET);
      //C5
      HAL_GPIO_WritePin(GPIOB, GPIO_PIN_9, GPIO_PIN_SET);
      //C6
      HAL_GPIO_WritePin(GPIOB, GPIO_PIN_8, GPIO_PIN_RESET);
      //C7
      HAL_GPIO_WritePin(GPIOB, GPIO_PIN_5, GPIO_PIN_SET);
      //C8
      HAL_GPIO_WritePin(GPIOB, GPIO_PIN_4, GPIO_PIN_SET);
      //C9
      HAL_GPIO_WritePin(GPIOB, GPIO_PIN_3, GPIO_PIN_SET);
   }
   if(x == 7){
      //C1
      HAL_GPIO_WritePin(GPIOA, GPIO_PIN_0, GPIO_PIN_SET);
      //C2
      HAL_GPIO_WritePin(GPIOC, GPIO_PIN_15, GPIO_PIN_SET);
      //C3
      HAL_GPIO_WritePin(GPIOC, GPIO_PIN_14, GPIO_PIN_SET);
      //C4
      HAL_GPIO_WritePin(GPIOC, GPIO_PIN_13, GPIO_PIN_SET);
      //C5
      HAL_GPIO_WritePin(GPIOB, GPIO_PIN_9, GPIO_PIN_SET);
      //C6
      HAL_GPIO_WritePin(GPIOB, GPIO_PIN_8, GPIO_PIN_SET);
      //C7
      HAL_GPIO_WritePin(GPIOB, GPIO_PIN_5, GPIO_PIN_RESET);
      //C8
      HAL_GPIO_WritePin(GPIOB, GPIO_PIN_4, GPIO_PIN_SET);
      //C9
      HAL_GPIO_WritePin(GPIOB, GPIO_PIN_3, GPIO_PIN_SET);
   }
   if(x == 8){
      //C1
      HAL_GPIO_WritePin(GPIOA, GPIO_PIN_0, GPIO_PIN_SET);
      //C2
      HAL_GPIO_WritePin(GPIOC, GPIO_PIN_15, GPIO_PIN_SET);
      //C3
      HAL_GPIO_WritePin(GPIOC, GPIO_PIN_14, GPIO_PIN_SET);
      //C4
      HAL_GPIO_WritePin(GPIOC, GPIO_PIN_13, GPIO_PIN_SET);
      //C5
      HAL_GPIO_WritePin(GPIOB, GPIO_PIN_9, GPIO_PIN_SET);
      //C6
      HAL_GPIO_WritePin(GPIOB, GPIO_PIN_8, GPIO_PIN_SET);
      //C7
      HAL_GPIO_WritePin(GPIOB, GPIO_PIN_5, GPIO_PIN_SET);
      //C8
      HAL_GPIO_WritePin(GPIOB, GPIO_PIN_4, GPIO_PIN_RESET);
      //C9
      HAL_GPIO_WritePin(GPIOB, GPIO_PIN_3, GPIO_PIN_SET);
   }

   if(x == 9){
      //C1
      HAL_GPIO_WritePin(GPIOA, GPIO_PIN_0, GPIO_PIN_SET);
      //C2
      HAL_GPIO_WritePin(GPIOC, GPIO_PIN_15, GPIO_PIN_SET);
      //C3
      HAL_GPIO_WritePin(GPIOC, GPIO_PIN_14, GPIO_PIN_SET);
      //C4
      HAL_GPIO_WritePin(GPIOC, GPIO_PIN_13, GPIO_PIN_SET);
      //C5
      HAL_GPIO_WritePin(GPIOB, GPIO_PIN_9, GPIO_PIN_SET);
      //C6
      HAL_GPIO_WritePin(GPIOB, GPIO_PIN_8, GPIO_PIN_SET);
      //C7
      HAL_GPIO_WritePin(GPIOB, GPIO_PIN_5, GPIO_PIN_SET);
      //C8
      HAL_GPIO_WritePin(GPIOB, GPIO_PIN_4, GPIO_PIN_SET);
      //C9
      HAL_GPIO_WritePin(GPIOB, GPIO_PIN_3, GPIO_PIN_RESET);
   }

}

/* USER CODE END 4 */

void Error_Handler(void)
{
}

/************************ (C) COPYRIGHT STMicroelectronics *****END OF FILE****/
